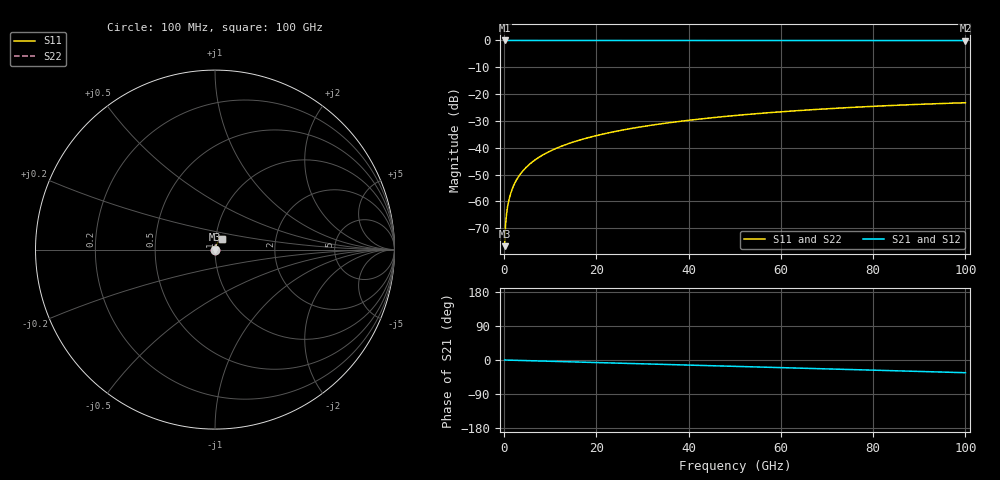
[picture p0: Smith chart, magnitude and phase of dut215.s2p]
! Touchstone file exported from HFSS 2026.1.0
!  File:  C:/ffzhzh/LocalFiles/Ansys_Project_Files/temp_train_TSV_215_1783507715_41296.aedt
!  Generated:  06:49:53 PM Jul  8, 2026
!  Design:  TSV
!  Project:  temp_train_TSV_215_1783507715_41296
! Variables:
!  h_bsmrdl = 2um
!  h_ox = 20um
!  h_rdl = 5um
!  h_sub = 61.73um
!  h_tmrdl = 5um
!  h_tsv = 61.73um
!  h_via = 3um
!  l_bsmrdl = 300um
!  l_sub = 422.48um
!  l_tmrdl = 200um
!  m_sub = 200um
!  pitch = 52.41um
!  r_tsv = 11.24um
!  s_tmrdl = 10um
!  w_bsmrdl = 18um
!  w_sub = 500um
!  w_tmrdl = 12um
!  x_tsv_center1 = 206um
!  x_tsv_center2 = 524um
!  x_tsv_center3 = 736um
!  x_tsv_center4 = 1054um
!  x_tsv_center5 = 1266um
!  x_tsv_center6 = 1584um
# GHz S MA R 50.000000
! Terminal data exported
! Port[1] = TSV1_1_T1
! Port[2] = TSV1_1_T2
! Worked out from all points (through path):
!   1000 points, 100 MHz to 100 GHz, reference 50 ohm
!   highest |S21| = 0.00 dB at 100 MHz (marker M1); lowest = 0.0 dB at 100 GHz (marker M2)
!   group delay of S21, straight-line fit = 930 fs
!   lowest |S11| = -76.7 dB at 100 MHz (marker M3), VSWR 1.00, Z = 50 + j0.0117 ohm
!   |S11| at or under -10 dB: start of sweep to end of sweep
!   |S22| runs from -76.7 to -23.2 dB; largest |S21 - S12| = 2.1e-15
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0.1  0.0001461 53.2  0.9999 -0.0  0.9999 -0.0  0.0001461 53.2
! Gamma 0 0 0 0
! Port Impedance 50 0 50 0
0.3  0.0003582 71.6  0.9999 -0.1  0.9999 -0.1  0.0003582 71.6
0.7  0.0007538 76.3  0.9998 -0.2  0.9998 -0.2  0.0007538 76.3
0.8  0.0008464 76.9  0.9998 -0.3  0.9998 -0.3  0.0008464 76.9
1  0.001029 77.9  0.9998 -0.3  0.9998 -0.3  0.001029 77.9
1.3  0.001298 79.0  0.9998 -0.4  0.9998 -0.4  0.001298 79.0
1.8  0.001742 80.2  0.9997 -0.6  0.9997 -0.6  0.001742 80.2
2.3  0.002182 80.9  0.9997 -0.8  0.9997 -0.8  0.002182 80.9
3  0.00279 81.6  0.9996 -1.0  0.9996 -1.0  0.00279 81.6
3.8  0.003476 82.0  0.9996 -1.3  0.9996 -1.3  0.003476 82.0
4.8  0.004325 82.3  0.9995 -1.6  0.9995 -1.6  0.004325 82.3
6  0.005336 82.5  0.9995 -2.0  0.9995 -2.0  0.005336 82.5
8.8  0.007677 82.4  0.9994 -3.0  0.9994 -3.0  0.007677 82.4
12.4  0.01065 81.8  0.9992 -4.2  0.9992 -4.2  0.01065 81.8
16.8  0.01425 80.8  0.999 -5.6  0.999 -5.6  0.01425 80.8
24.2  0.0202 78.9  0.9987 -8.1  0.9987 -8.1  0.0202 78.9
33.4  0.02743 76.3  0.9984 -11.2  0.9984 -11.2  0.02743 76.3
41.2  0.03337 73.9  0.9981 -13.8  0.9981 -13.8  0.03337 73.9
50.1  0.03988 71.1  0.9977 -16.8  0.9977 -16.8  0.03988 71.1
66.7  0.05115 65.8  0.9969 -22.3  0.9969 -22.3  0.05115 65.8
83.4  0.06103 60.4  0.9961 -27.9  0.9961 -27.9  0.06103 60.4
100  0.06901 55.0  0.9953 -33.5  0.9953 -33.5  0.06901 55.0
